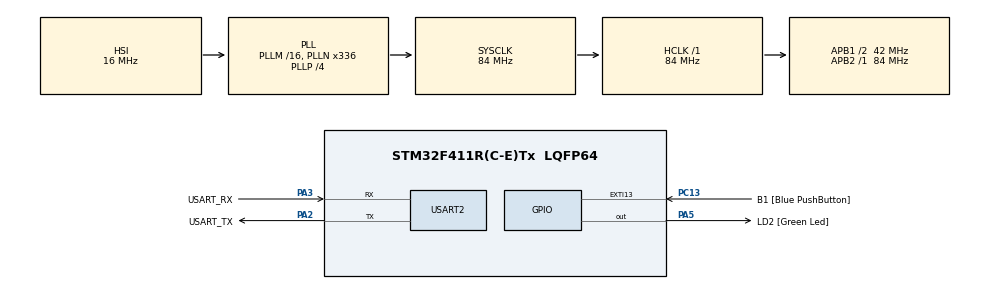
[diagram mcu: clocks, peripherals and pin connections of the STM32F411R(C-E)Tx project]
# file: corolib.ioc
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Mcu.Family=STM32F4
Mcu.Name=STM32F411R(C-E)Tx
Mcu.Package=LQFP64
NVIC.PriorityGroup=NVIC_PRIORITYGROUP_0
NVIC.TIM5_IRQn=true\:0\:0\:false\:false\:true\:false\:true\:true
NVIC.TimeBase=TIM5_IRQn
NVIC.TimeBaseIP=TIM5
PA13.GPIO_Label=TMS
PA13.Signal=SYS_JTMS-SWDIO
PA14.GPIO_Label=TCK
PA14.Signal=SYS_JTCK-SWCLK
PA2.GPIO_Label=USART_TX
PA2.Mode=Asynchronous
PA2.Signal=USART2_TX
PA3.GPIO_Label=USART_RX
PA3.Mode=Asynchronous
PA3.Signal=USART2_RX
PA5.GPIO_Label=LD2 [Green Led]
PA5.Signal=GPIO_Output
PB3.GPIO_Label=SWO
PB3.Signal=SYS_JTDO-SWO
PC13-ANTI_TAMP.GPIO_Label=B1 [Blue PushButton]
PC13-ANTI_TAMP.GPIO_ModeDefaultEXTI=GPIO_MODE_IT_FALLING
PC13-ANTI_TAMP.Signal=GPXTI13
PC14-OSC32_IN.Signal=RCC_OSC32_IN
PC15-OSC32_OUT.Signal=RCC_OSC32_OUT
PH0\ -\ OSC_IN.Signal=RCC_OSC_IN
PH1\ -\ OSC_OUT.Signal=RCC_OSC_OUT
ProjectManager.HeapSize=0x200
ProjectManager.StackSize=0x400
ProjectManager.TargetToolchain=STM32CubeIDE
RCC.48MHZClocksFreq_Value=84000000
RCC.AHBFreq_Value=84000000
RCC.APB1CLKDivider=RCC_HCLK_DIV2
RCC.APB1Freq_Value=42000000
RCC.APB1TimFreq_Value=84000000
RCC.APB2Freq_Value=84000000
RCC.APB2TimFreq_Value=84000000
RCC.CortexFreq_Value=84000000
RCC.FLatency-AdvancedSettings=FLASH_LATENCY_2
RCC.HCLKFreq_Value=84000000
RCC.HSE_VALUE=8000000
RCC.HSI_VALUE=16000000
RCC.LSE_VALUE=32768
RCC.PLLN=336
RCC.PLLP=RCC_PLLP_DIV4
RCC.SYSCLKFreq_VALUE=84000000
RCC.SYSCLKSource=RCC_SYSCLKSOURCE_PLLCLK
RCC.VCOOutputFreq_Value=336000000
USART2.VirtualMode=VM_ASYNC
VP_SYS_VS_tim5.Mode=TIM5
board=NUCLEO-F411RE

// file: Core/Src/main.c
/* USER CODE BEGIN Header */
/**
  ******************************************************************************
  * @file           : main.c
  * @brief          : Main program body
  ******************************************************************************
  * @attention
  *
  * Copyright (c) 2025 STMicroelectronics.
  * All rights reserved.
  *
  * This software is licensed under terms that can be found in the LICENSE file
  * in the root directory of this software component.
  * If no LICENSE file comes with this software, it is provided AS-IS.
  *
  ******************************************************************************
  */
/* USER CODE END Header */
#include "main.h"

/* USER CODE BEGIN Includes */
#include "string.h"
/* USER CODE END Includes */

UART_HandleTypeDef huart2;

void SystemClock_Config(void);
static void MX_GPIO_Init(void);
static void MX_USART2_UART_Init(void);

/* USER CODE BEGIN 0 */
#define TRUE 1
#define FALSE 0
char *user_data = "The application is running\r\n";
uint8_t  data_buffer[100];
uint8_t  recvd_data;
uint32_t count=0;
uint8_t  reception_complete = FALSE;

void HAL_UART_RxCpltCallback(UART_HandleTypeDef *huart)
{
  if(recvd_data == '\r')
  {
    reception_complete = TRUE;
    data_buffer[count++]='\r';
    HAL_UART_Transmit(huart,data_buffer,count,HAL_MAX_DELAY);
  }
  else
  {
    data_buffer[count++] = recvd_data;
  }
}
/* USER CODE END 0 */

int main(void)
{

  /* MCU Configuration--------------------------------------------------------*/

  /* Reset of all peripherals, Initializes the Flash interface and the Systick. */
  HAL_Init();

  /* Configure the system clock */
  SystemClock_Config();

  /* Initialize all configured peripherals */
  MX_GPIO_Init();
  MX_USART2_UART_Init();
  /* USER CODE BEGIN 2 */
  char user_data[] = "hello from micro-controller, this is a test of send\n";
  uint16_t len_of_data = strlen(user_data);
  HAL_UART_Transmit(&huart2,(uint8_t*)user_data,len_of_data,HAL_MAX_DELAY);
  /* USER CODE END 2 */

  /* Infinite loop */
  /* USER CODE BEGIN WHILE */
  while (1)
  {
      HAL_UART_Receive_IT(&huart2,&recvd_data,1);
    /* USER CODE END WHILE */

  }
}

void SystemClock_Config(void)
{
  RCC_OscInitTypeDef RCC_OscInitStruct = {0};
  RCC_ClkInitTypeDef RCC_ClkInitStruct = {0};

  /** Configure the main internal regulator output voltage
  */
  __HAL_RCC_PWR_CLK_ENABLE();
  __HAL_PWR_VOLTAGESCALING_CONFIG(PWR_REGULATOR_VOLTAGE_SCALE1);

  /** Initializes the RCC Oscillators according to the specified parameters
  * in the RCC_OscInitTypeDef structure.
  */
  RCC_OscInitStruct.OscillatorType = RCC_OSCILLATORTYPE_HSI;
  RCC_OscInitStruct.HSIState = RCC_HSI_ON;
  RCC_OscInitStruct.HSICalibrationValue = RCC_HSICALIBRATION_DEFAULT;
  RCC_OscInitStruct.PLL.PLLState = RCC_PLL_ON;
  RCC_OscInitStruct.PLL.PLLSource = RCC_PLLSOURCE_HSI;
  RCC_OscInitStruct.PLL.PLLM = 16;
  RCC_OscInitStruct.PLL.PLLN = 336;
  RCC_OscInitStruct.PLL.PLLP = RCC_PLLP_DIV4;
  RCC_OscInitStruct.PLL.PLLQ = 4;
  if (HAL_RCC_OscConfig(&RCC_OscInitStruct) != HAL_OK)
  {
    Error_Handler();
  }

  /** Initializes the CPU, AHB and APB buses clocks
  */
  RCC_ClkInitStruct.ClockType = RCC_CLOCKTYPE_HCLK|RCC_CLOCKTYPE_SYSCLK
                              |RCC_CLOCKTYPE_PCLK1|RCC_CLOCKTYPE_PCLK2;
  RCC_ClkInitStruct.SYSCLKSource = RCC_SYSCLKSOURCE_PLLCLK;
  RCC_ClkInitStruct.AHBCLKDivider = RCC_SYSCLK_DIV1;
  RCC_ClkInitStruct.APB1CLKDivider = RCC_HCLK_DIV2;
  RCC_ClkInitStruct.APB2CLKDivider = RCC_HCLK_DIV1;

  if (HAL_RCC_ClockConfig(&RCC_ClkInitStruct, FLASH_LATENCY_2) != HAL_OK)
  {
    Error_Handler();
  }
}

static void MX_USART2_UART_Init(void)
{

  huart2.Instance = USART2;
  huart2.Init.BaudRate = 115200;
  huart2.Init.WordLength = UART_WORDLENGTH_8B;
  huart2.Init.StopBits = UART_STOPBITS_1;
  huart2.Init.Parity = UART_PARITY_NONE;
  huart2.Init.Mode = UART_MODE_TX_RX;
  huart2.Init.HwFlowCtl = UART_HWCONTROL_NONE;
  huart2.Init.OverSampling = UART_OVERSAMPLING_16;
  if (HAL_UART_Init(&huart2) != HAL_OK)
  {
    Error_Handler();
  }

}

static void MX_GPIO_Init(void)
{
  GPIO_InitTypeDef GPIO_InitStruct = {0};

  /* GPIO Ports Clock Enable */
  __HAL_RCC_GPIOC_CLK_ENABLE();
  __HAL_RCC_GPIOH_CLK_ENABLE();
  __HAL_RCC_GPIOA_CLK_ENABLE();
  __HAL_RCC_GPIOB_CLK_ENABLE();

  /*Configure GPIO pin Output Level */
  HAL_GPIO_WritePin(LD2_GPIO_Port, LD2_Pin, GPIO_PIN_RESET);

  /*Configure GPIO pin : B1_Pin */
  GPIO_InitStruct.Pin = B1_Pin;
  GPIO_InitStruct.Mode = GPIO_MODE_IT_FALLING;
  GPIO_InitStruct.Pull = GPIO_NOPULL;
  HAL_GPIO_Init(B1_GPIO_Port, &GPIO_InitStruct);

  /*Configure GPIO pin : LD2_Pin */
  GPIO_InitStruct.Pin = LD2_Pin;
  GPIO_InitStruct.Mode = GPIO_MODE_OUTPUT_PP;
  GPIO_InitStruct.Pull = GPIO_NOPULL;
  GPIO_InitStruct.Speed = GPIO_SPEED_FREQ_LOW;
  HAL_GPIO_Init(LD2_GPIO_Port, &GPIO_InitStruct);

}

void HAL_TIM_PeriodElapsedCallback(TIM_HandleTypeDef *htim)
{
  if (htim->Instance == TIM5) {
    HAL_IncTick();
  }
}

void Error_Handler(void)
{
  __disable_irq();
  while (1)
  {
  }
}
